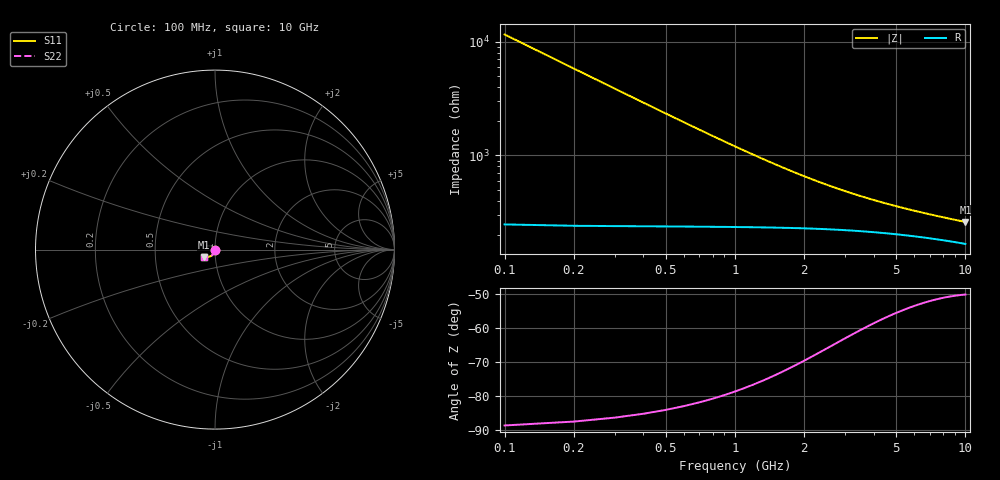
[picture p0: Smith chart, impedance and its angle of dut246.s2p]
! Touchstone file exported from HFSS 2024.1.0
!  File:  C:/UserFiles/LocalFiles/RDL_TSV_Batchsim/temp_TSV1_246_1779390077.aedt
!  Generated:  03:05:14 AM May 22, 2026
!  Design:  TSV1
!  Project:  temp_TSV1_246_1779390077
!  Setup:  Setup1
!  Solution:  Sweep
! Variables:
!  dtsv = 14.16um
!  hbump = 3um
!  htsv = 79.14um
!  lrdl = 252.1521522um
!  p = 40
!  p1 = 40.04um
!  t = 500um
!  trdl = 3um
!  wrdl = 24.89489489um
# GHz S MA R 50.000000
! Terminal data exported
! Port[1] = TSV22_T1
! Port[2] = TSV22_T2
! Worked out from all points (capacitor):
!   100 points, 100 MHz to 10 GHz, reference 50 ohm
!   read as one part in shunt: C = 137 fF near 100 MHz
!   lowest |Z| = 259 ohm at 10 GHz (marker M1)
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0.1  0.001859 -88.7  0.9999 -0.1  0.9999 -0.1  0.001859 -88.7
! Gamma 0 0 0 0
! Port Impedance 50 0 50 0
0.2  0.003712 -91.5  0.9997 -0.3  0.9997 -0.3  0.003712 -91.5
0.3  0.005559 -93.4  0.9995 -0.4  0.9995 -0.4  0.005559 -93.4
0.4  0.007397 -95.1  0.9992 -0.6  0.9992 -0.6  0.007397 -95.1
0.5  0.00922 -96.6  0.9988 -0.7  0.9988 -0.7  0.00922 -96.6
0.6  0.01103 -98.1  0.9983 -0.8  0.9983 -0.8  0.01103 -98.1
0.7  0.01281 -99.5  0.9977 -1.0  0.9977 -1.0  0.01281 -99.5
0.8  0.01456 -100.9  0.9971 -1.1  0.9971 -1.1  0.01456 -100.9
0.9  0.01629 -102.2  0.9964 -1.2  0.9964 -1.2  0.01629 -102.2
1.1  0.01965 -104.9  0.9948 -1.4  0.9948 -1.4  0.01965 -104.9
1.4  0.0244 -108.5  0.9921 -1.8  0.9921 -1.8  0.0244 -108.5
1.6  0.02736 -110.8  0.9901 -2.0  0.9901 -2.0  0.02736 -110.8
1.8  0.03016 -113.0  0.9881 -2.2  0.9881 -2.2  0.03016 -113.0
2.1  0.03405 -116.1  0.985 -2.4  0.985 -2.4  0.03405 -116.1
2.5  0.03867 -119.7  0.9809 -2.7  0.9809 -2.7  0.03867 -119.7
2.9  0.04272 -123.0  0.977 -3.0  0.977 -3.0  0.04272 -123.0
3.4  0.04709 -126.4  0.9725 -3.2  0.9725 -3.2  0.04709 -126.4
4.2  0.05282 -131.0  0.966 -3.6  0.966 -3.6  0.05282 -131.0
5.1  0.05792 -134.9  0.9598 -3.9  0.9598 -3.9  0.05792 -134.9
6.7  0.06477 -139.9  0.9512 -4.5  0.9512 -4.5  0.06477 -139.9
8.4  0.07012 -143.6  0.9446 -5.0  0.9446 -5.0  0.07012 -143.6
10  0.07397 -146.2  0.9398 -5.5  0.9398 -5.5  0.07397 -146.2
